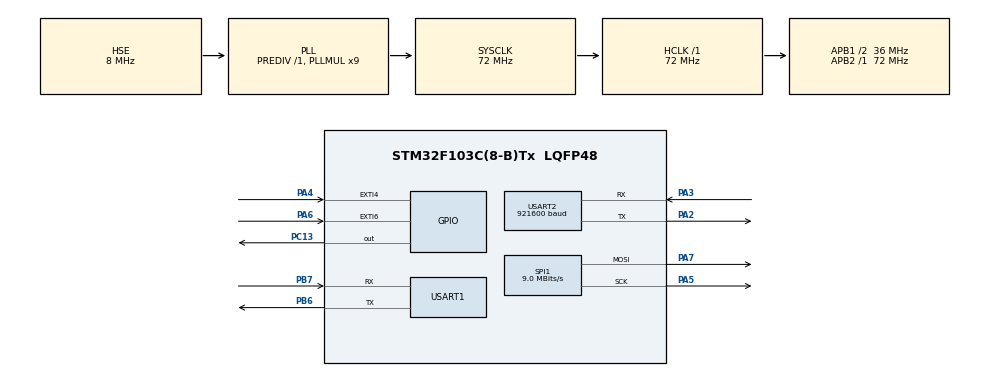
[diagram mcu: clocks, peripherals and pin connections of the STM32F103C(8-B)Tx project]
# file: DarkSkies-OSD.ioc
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Dma.Request0=USART1_RX
Dma.Request1=USART1_TX
Dma.Request2=SPI1_TX
Dma.Request3=USART2_RX
Dma.SPI1_TX.2.Direction=DMA_MEMORY_TO_PERIPH
Dma.SPI1_TX.2.Instance=DMA1_Channel3
Dma.SPI1_TX.2.MemDataAlignment=DMA_MDATAALIGN_BYTE
Dma.SPI1_TX.2.MemInc=DMA_MINC_ENABLE
Dma.SPI1_TX.2.Mode=DMA_NORMAL
Dma.SPI1_TX.2.PeriphDataAlignment=DMA_PDATAALIGN_BYTE
Dma.SPI1_TX.2.PeriphInc=DMA_PINC_DISABLE
Dma.SPI1_TX.2.Priority=DMA_PRIORITY_VERY_HIGH
Dma.USART1_RX.0.Direction=DMA_PERIPH_TO_MEMORY
Dma.USART1_RX.0.Instance=DMA1_Channel5
Dma.USART1_RX.0.MemDataAlignment=DMA_MDATAALIGN_BYTE
Dma.USART1_RX.0.MemInc=DMA_MINC_ENABLE
Dma.USART1_RX.0.Mode=DMA_CIRCULAR
Dma.USART1_RX.0.PeriphDataAlignment=DMA_PDATAALIGN_BYTE
Dma.USART1_RX.0.PeriphInc=DMA_PINC_DISABLE
Dma.USART1_RX.0.Priority=DMA_PRIORITY_LOW
Dma.USART1_TX.1.Direction=DMA_MEMORY_TO_PERIPH
Dma.USART1_TX.1.Instance=DMA1_Channel4
Dma.USART1_TX.1.MemDataAlignment=DMA_MDATAALIGN_BYTE
Dma.USART1_TX.1.MemInc=DMA_MINC_ENABLE
Dma.USART1_TX.1.Mode=DMA_NORMAL
Dma.USART1_TX.1.PeriphDataAlignment=DMA_PDATAALIGN_BYTE
Dma.USART1_TX.1.PeriphInc=DMA_PINC_DISABLE
Dma.USART1_TX.1.Priority=DMA_PRIORITY_LOW
Dma.USART2_RX.3.Direction=DMA_PERIPH_TO_MEMORY
Dma.USART2_RX.3.Instance=DMA1_Channel6
Dma.USART2_RX.3.MemDataAlignment=DMA_MDATAALIGN_BYTE
Dma.USART2_RX.3.MemInc=DMA_MINC_ENABLE
Dma.USART2_RX.3.Mode=DMA_CIRCULAR
Dma.USART2_RX.3.PeriphDataAlignment=DMA_PDATAALIGN_BYTE
Dma.USART2_RX.3.PeriphInc=DMA_PINC_DISABLE
Dma.USART2_RX.3.Priority=DMA_PRIORITY_HIGH
Mcu.Family=STM32F1
Mcu.Name=STM32F103C(8-B)Tx
Mcu.Package=LQFP48
NVIC.DMA1_Channel3_IRQn=true\:0\:0\:false\:false\:true\:false
NVIC.DMA1_Channel4_IRQn=true\:0\:0\:false\:false\:true\:false
NVIC.DMA1_Channel5_IRQn=true\:0\:0\:false\:false\:true\:false
NVIC.DMA1_Channel6_IRQn=true\:0\:0\:false\:true\:true\:4\:false
NVIC.EXTI4_IRQn=true\:0\:0\:false\:true\:true\:3\:true
NVIC.EXTI9_5_IRQn=true\:0\:0\:false\:true\:true\:2\:true
NVIC.PriorityGroup=NVIC_PRIORITYGROUP_4
NVIC.TIM3_IRQn=true\:0\:0\:false\:true\:true\:1\:true
NVIC.TIM4_IRQn=true\:0\:0\:false\:true\:true\:5\:true
NVIC.USART1_IRQn=true\:0\:0\:false\:true\:true\:7\:true
NVIC.USART2_IRQn=true\:0\:0\:false\:true\:true\:6\:true
PA13.Mode=Serial_Wire
PA13.Signal=SYS_JTMS-SWDIO
PA14.Mode=Serial_Wire
PA14.Signal=SYS_JTCK-SWCLK
PA2.Mode=Asynchronous
PA2.Signal=USART2_TX
PA3.Mode=Asynchronous
PA3.Signal=USART2_RX
PA4.GPIO_PuPd=GPIO_NOPULL
PA4.Signal=GPXTI4
PA5.Mode=TX_Only_Simplex_Unidirect_Master
PA5.Signal=SPI1_SCK
PA6.GPIO_PuPd=GPIO_NOPULL
PA6.Signal=GPXTI6
PA7.Mode=TX_Only_Simplex_Unidirect_Master
PA7.Signal=SPI1_MOSI
PB6.Mode=Asynchronous
PB6.Signal=USART1_TX
PB7.Mode=Asynchronous
PB7.Signal=USART1_RX
PC13-TAMPER-RTC.Signal=GPIO_Output
PC14-OSC32_IN.Mode=LSE-External-Oscillator
PC14-OSC32_IN.Signal=RCC_OSC32_IN
PC15-OSC32_OUT.Mode=LSE-External-Oscillator
PC15-OSC32_OUT.Signal=RCC_OSC32_OUT
PD0-OSC_IN.Mode=HSE-External-Oscillator
PD0-OSC_IN.Signal=RCC_OSC_IN
PD1-OSC_OUT.Mode=HSE-External-Oscillator
PD1-OSC_OUT.Signal=RCC_OSC_OUT
ProjectManager.HeapSize=0x200
ProjectManager.StackSize=0x400
ProjectManager.TargetToolchain=SW4STM32
RCC.ADCPresc=RCC_ADCPCLK2_DIV6
RCC.AHBFreq_Value=72000000
RCC.APB1CLKDivider=RCC_HCLK_DIV2
RCC.APB1Freq_Value=36000000
RCC.APB1TimFreq_Value=72000000
RCC.APB2Freq_Value=72000000
RCC.APB2TimFreq_Value=72000000
RCC.HCLKFreq_Value=72000000
RCC.PLLMUL=RCC_PLL_MUL9
RCC.PLLSourceVirtual=RCC_PLLSOURCE_HSE
RCC.SYSCLKFreq_VALUE=72000000
RCC.SYSCLKSource=RCC_SYSCLKSOURCE_PLLCLK
RCC.USBFreq_Value=72000000
SPI1.BaudRatePrescaler=SPI_BAUDRATEPRESCALER_8
SPI1.CalculateBaudRate=9.0 MBits/s
SPI1.DataSize=SPI_DATASIZE_8BIT
SPI1.Direction=SPI_DIRECTION_2LINES
SPI1.Mode=SPI_MODE_MASTER
SPI1.VirtualType=VM_MASTER
TIM3.AutoReloadPreload=TIM_AUTORELOAD_PRELOAD_ENABLE
TIM3.CounterMode=TIM_COUNTERMODE_UP
TIM3.Period=4-1
TIM3.Prescaler=2-1
TIM3.TIM_MasterOutputTrigger=TIM_TRGO_RESET
TIM3.TIM_MasterSlaveMode=TIM_MASTERSLAVEMODE_DISABLE
TIM4.Period=1000-1
TIM4.Prescaler=72-1
TIM4.TIM_MasterOutputTrigger=TIM_TRGO_RESET
TIM4.TIM_MasterSlaveMode=TIM_MASTERSLAVEMODE_DISABLE
USART1.VirtualMode=VM_ASYNC
USART2.BaudRate=921600
USART2.Mode=MODE_RX
USART2.VirtualMode=VM_ASYNC
VP_CRC_VS_CRC.Mode=CRC_Activate
VP_TIM3_VS_ClockSourceINT.Mode=Internal
VP_TIM3_VS_OPM.Mode=OPM_bit
VP_TIM4_VS_ClockSourceINT.Mode=Internal
board=custom

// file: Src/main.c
/**
  ******************************************************************************
  * @file           : main.c
  * @brief          : Main program body
  ******************************************************************************
  ** This notice applies to any and all portions of this file
  * that are not between comment pairs USER CODE BEGIN and
  * USER CODE END. Other portions of this file, whether
  * inserted by the user or by software development tools
  * are owned by their respective copyright owners.
  *
  * COPYRIGHT(c) 2018 STMicroelectronics
  *
  * Redistribution and use in source and binary forms, with or without modification,
  * are permitted provided that the following conditions are met:
  *   1. Redistributions of source code must retain the above copyright notice,
  *      this list of conditions and the following disclaimer.
  *   2. Redistributions in binary form must reproduce the above copyright notice,
  *      this list of conditions and the following disclaimer in the documentation
  *      and/or other materials provided with the distribution.
  *   3. Neither the name of STMicroelectronics nor the names of its contributors
  *      may be used to endorse or promote products derived from this software
  *      without specific prior written permission.
  *
  * THIS SOFTWARE IS PROVIDED BY THE COPYRIGHT HOLDERS AND CONTRIBUTORS "AS IS"
  * AND ANY EXPRESS OR IMPLIED WARRANTIES, INCLUDING, BUT NOT LIMITED TO, THE
  * IMPLIED WARRANTIES OF MERCHANTABILITY AND FITNESS FOR A PARTICULAR PURPOSE ARE
  * DISCLAIMED. IN NO EVENT SHALL THE COPYRIGHT HOLDER OR CONTRIBUTORS BE LIABLE
  * FOR ANY DIRECT, INDIRECT, INCIDENTAL, SPECIAL, EXEMPLARY, OR CONSEQUENTIAL
  * DAMAGES (INCLUDING, BUT NOT LIMITED TO, PROCUREMENT OF SUBSTITUTE GOODS OR
  * SERVICES; LOSS OF USE, DATA, OR PROFITS; OR BUSINESS INTERRUPTION) HOWEVER
  * CAUSED AND ON ANY THEORY OF LIABILITY, WHETHER IN CONTRACT, STRICT LIABILITY,
  * OR TORT (INCLUDING NEGLIGENCE OR OTHERWISE) ARISING IN ANY WAY OUT OF THE USE
  * OF THIS SOFTWARE, EVEN IF ADVISED OF THE POSSIBILITY OF SUCH DAMAGE.
  *
  ******************************************************************************
  */
#include "main.h"
#include "stm32f1xx_hal.h"
#include "crc.h"
#include "dma.h"
#include "spi.h"
#include "tim.h"
#include "usart.h"
#include "gpio.h"

/* USER CODE BEGIN Includes */

#include <Input/Input.h>
#include <Display/Display.h>

/* USER CODE END Includes */

void SystemClock_Config(void);
static void MX_NVIC_Init(void);

/* USER CODE BEGIN PFP */
/* Private function prototypes -----------------------------------------------*/

/* USER CODE END PFP */

int main(void)
{

  /* MCU Configuration----------------------------------------------------------*/

  /* Reset of all peripherals, Initializes the Flash interface and the Systick. */
  HAL_Init();

  /* Configure the system clock */
  SystemClock_Config();

  /* Initialize all configured peripherals */
  MX_GPIO_Init();
  MX_DMA_Init();
  MX_TIM4_Init();
  MX_CRC_Init();
  MX_USART1_UART_Init();
  MX_SPI1_Init();
  MX_USART2_UART_Init();
  MX_TIM3_Init();

  /* Initialize interrupts */
  MX_NVIC_Init();
  /* USER CODE BEGIN 2 */
  HAL_UART_Transmit(&huart1, (uint8_t *)"\r\nUART1 test OK!\r\n", 18, 0xFFFF);
  printf("Init started!\r\n");

  HAL_TIM_Base_Start_IT(&htim4); //Microtimer
  HAL_TIM_Base_Start(&htim3); //Delay timer for shift image to right
  //__HAL_SPI_ENABLE(&hspi1);

  //HAL_TIM_OC_Start_IT(&htim4, TIM_CHANNEL_1);

  //HAL_TIM_Base_Start(&htim3); //Do i realy need this????

  //HAL_TIM_PWM_Start(&htim1,TIM_CHANNEL_3);
  //HAL_TIM_PWM_Start(&htim3,TIM_CHANNEL_1);
  //HAL_TIM_PWM_Start(&htim3,TIM_CHANNEL_2);
  //HAL_TIM_PWM_Start(&htim3,TIM_CHANNEL_3);
  //HAL_TIM_PWM_Start(&htim3,TIM_CHANNEL_4);

  Input_Init();
  Display_Init();

  printf("Init ended!\r\n");
  /* USER CODE END 2 */

  /* Infinite loop */
  /* USER CODE BEGIN WHILE */

  unsigned long ftime = 0;
  unsigned long lftime = 0;

  while (1)
  {
	  ftime = getMicros();

	  HAL_GPIO_TogglePin(GPIOC, GPIO_PIN_13);
	  Display_Draw(lftime);
	  //printf("ftime: %lu\r\n", lftime);

	  lftime = getMicros() - ftime;

	  //HAL_Delay(39 - lftime / 1000); //some kind of vertical sync

	  #ifdef HAL_IWDG_MODULE_ENABLED
	  HAL_IWDG_Refresh(&hiwdg);
	  #endif
  /* USER CODE END WHILE */

  }

}

void SystemClock_Config(void)
{

  RCC_OscInitTypeDef RCC_OscInitStruct;
  RCC_ClkInitTypeDef RCC_ClkInitStruct;

    /**Initializes the CPU, AHB and APB busses clocks
    */
  RCC_OscInitStruct.OscillatorType = RCC_OSCILLATORTYPE_HSE;
  RCC_OscInitStruct.HSEState = RCC_HSE_ON;
  RCC_OscInitStruct.HSEPredivValue = RCC_HSE_PREDIV_DIV1;
  RCC_OscInitStruct.HSIState = RCC_HSI_ON;
  RCC_OscInitStruct.PLL.PLLState = RCC_PLL_ON;
  RCC_OscInitStruct.PLL.PLLSource = RCC_PLLSOURCE_HSE;
  RCC_OscInitStruct.PLL.PLLMUL = RCC_PLL_MUL9;
  if (HAL_RCC_OscConfig(&RCC_OscInitStruct) != HAL_OK)
  {
    _Error_Handler(__FILE__, __LINE__);
  }

    /**Initializes the CPU, AHB and APB busses clocks
    */
  RCC_ClkInitStruct.ClockType = RCC_CLOCKTYPE_HCLK|RCC_CLOCKTYPE_SYSCLK
                              |RCC_CLOCKTYPE_PCLK1|RCC_CLOCKTYPE_PCLK2;
  RCC_ClkInitStruct.SYSCLKSource = RCC_SYSCLKSOURCE_PLLCLK;
  RCC_ClkInitStruct.AHBCLKDivider = RCC_SYSCLK_DIV1;
  RCC_ClkInitStruct.APB1CLKDivider = RCC_HCLK_DIV2;
  RCC_ClkInitStruct.APB2CLKDivider = RCC_HCLK_DIV1;

  if (HAL_RCC_ClockConfig(&RCC_ClkInitStruct, FLASH_LATENCY_2) != HAL_OK)
  {
    _Error_Handler(__FILE__, __LINE__);
  }

    /**Configure the Systick interrupt time
    */
  HAL_SYSTICK_Config(HAL_RCC_GetHCLKFreq()/1000);

    /**Configure the Systick
    */
  HAL_SYSTICK_CLKSourceConfig(SYSTICK_CLKSOURCE_HCLK);

  /* SysTick_IRQn interrupt configuration */
  HAL_NVIC_SetPriority(SysTick_IRQn, 0, 0);
}

/**
  * @brief NVIC Configuration.
  * @retval None
  */
static void MX_NVIC_Init(void)
{
  /* TIM3_IRQn interrupt configuration */
  HAL_NVIC_SetPriority(TIM3_IRQn, 0, 0);
  HAL_NVIC_EnableIRQ(TIM3_IRQn);
  /* EXTI9_5_IRQn interrupt configuration */
  HAL_NVIC_SetPriority(EXTI9_5_IRQn, 0, 0);
  HAL_NVIC_EnableIRQ(EXTI9_5_IRQn);
  /* EXTI4_IRQn interrupt configuration */
  HAL_NVIC_SetPriority(EXTI4_IRQn, 0, 0);
  HAL_NVIC_EnableIRQ(EXTI4_IRQn);
  /* DMA1_Channel6_IRQn interrupt configuration */
  HAL_NVIC_SetPriority(DMA1_Channel6_IRQn, 0, 0);
  HAL_NVIC_EnableIRQ(DMA1_Channel6_IRQn);
  /* TIM4_IRQn interrupt configuration */
  HAL_NVIC_SetPriority(TIM4_IRQn, 0, 0);
  HAL_NVIC_EnableIRQ(TIM4_IRQn);
  /* USART2_IRQn interrupt configuration */
  HAL_NVIC_SetPriority(USART2_IRQn, 0, 0);
  HAL_NVIC_EnableIRQ(USART2_IRQn);
  /* USART1_IRQn interrupt configuration */
  HAL_NVIC_SetPriority(USART1_IRQn, 0, 0);
  HAL_NVIC_EnableIRQ(USART1_IRQn);
}

/* USER CODE BEGIN 4 */

/**
  * @brief  Retargets the C library printf function to the USART.
  * @param  None
  * @retval None
  */
/*
#ifdef __GNUC__
#define PUTCHAR_PROTOTYPE int __io_putchar(char ch)
#else
#define PUTCHAR_PROTOTYPE int fputc(char ch, FILE *f)
#endif

PUTCHAR_PROTOTYPE
{
HAL_UART_Transmit(&huart1, (uint8_t*)&ch, 1, 0xFFFF);

return ch;
}*/

/*
int _write(int file, char *ptr, int len)
{
	HAL_UART_Transmit(&huart1, (uint8_t*)ptr, len, 0xFFFF);
	while(1);
    return len;
}*/

/*
#define PUTCHAR_PROTOTYPE int __write(int file, char ch, int len)

PUTCHAR_PROTOTYPE
{
HAL_UART_Transmit(&huart1, (uint8_t*)&ch, 1, 0xFFFF);
return len;
}
*/
/* USER CODE END 4 */

void _Error_Handler(char *file, int line)
{
  /* USER CODE BEGIN Error_Handler_Debug */
  /* User can add his own implementation to report the HAL error return state */
	UNUSED(line);
	printf("_Error_Handler file: %s line: %i \r\n", file, line);
	while (1) {

	}
  /* USER CODE END Error_Handler_Debug */
}

/************************ (C) COPYRIGHT STMicroelectronics *****END OF FILE****/
